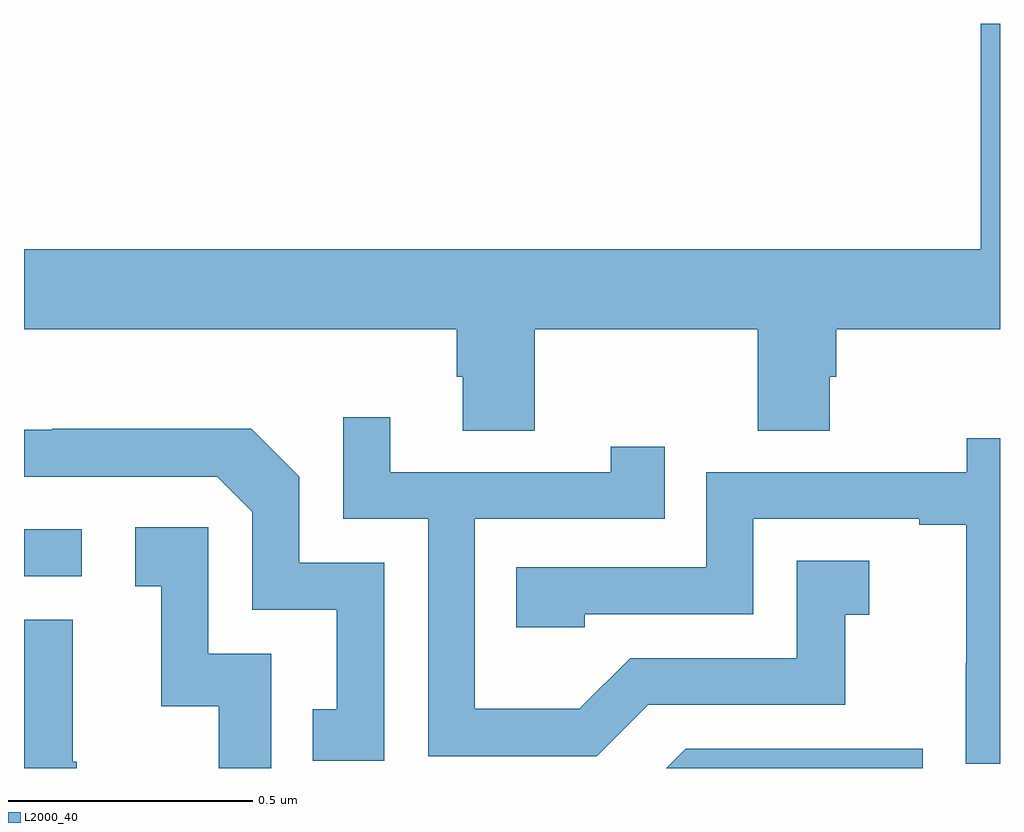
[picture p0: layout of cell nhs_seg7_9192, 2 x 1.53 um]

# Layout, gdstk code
import gdstk
lib = gdstk.Library(unit=1e-6, precision=1e-09)
def R(c, l, rs):  # rectangles x0, y0, x1, y1
    for r in rs: c.add(gdstk.rectangle(r[:2], r[2:], *l))
def P(c, l, *ps):  # polygons
    for p in ps: c.add(gdstk.Polygon(p, *l))
L2000_40 = (2000, 40)

nhs_seg7_9192 = lib.new_cell('nhs_seg7_9192')
R(nhs_seg7_9192, L2000_40, [(234,1049.394,234.118,1049.49)])
P(nhs_seg7_9192, L2000_40, [(235.047,1049.9),(235.504,1049.9),(235.504,1049.692),(235.651,1049.692),(235.651,1049.802),(235.664,1049.802),(235.664,1049.9),(236,1049.9),(236,1050.526),(235.961,1050.526),(235.961,1050.064),(234,1050.064),(234,1049.9),(234.887,1049.9),(234.887,1049.802),(234.899,1049.802),(234.899,1049.692),(235.047,1049.692)],
  [(235.279,1049.13),(235.683,1049.13),(235.683,1049.315),(235.732,1049.315),(235.732,1049.425),(235.584,1049.425),(235.584,1049.226),(235.242,1049.226),(235.138,1049.122),(234.924,1049.122),(234.924,1049.511),(235.313,1049.511),(235.313,1049.659),(235.202,1049.659),(235.202,1049.607),(234.751,1049.607),(234.751,1049.719),(234.654,1049.719),(234.654,1049.511),(234.828,1049.511),(234.828,1049.025),(235.174,1049.025)],
  [(234.738,1049.421),(234.564,1049.421),(234.564,1049.598),(234.466,1049.696),(234.058,1049.696),(234.058,1049.694),(234,1049.694),(234,1049.598),(234.396,1049.598),(234.468,1049.526),(234.468,1049.325),(234.641,1049.325),(234.641,1049.121),(234.592,1049.121),(234.592,1049.016),(234.738,1049.016)],
  [(236,1049.676),(235.932,1049.676),(235.932,1049.607),(235.398,1049.607),(235.398,1049.412),(235.009,1049.412),(235.009,1049.289),(235.149,1049.289),(235.149,1049.316),(235.494,1049.316),(235.494,1049.511),(235.835,1049.511),(235.835,1049.499),(235.931,1049.499),(235.931,1049.215),(235.93,1049.215),(235.93,1049.009),(236,1049.009)],
  [(234.507,1049.235),(234.378,1049.235),(234.378,1049.494),(234.228,1049.494),(234.228,1049.373),(234.281,1049.373),(234.281,1049.127),(234.399,1049.127),(234.399,1049),(234.507,1049)],
  [(234.108,1049.014),(234.1,1049.014),(234.1,1049.305),(234,1049.305),(234,1049),(234.108,1049)],
  [(235.842,1049.04),(235.356,1049.04),(235.316,1049),(235.842,1049)])

lib.write_gds('nhs_seg7_9192.gds')
